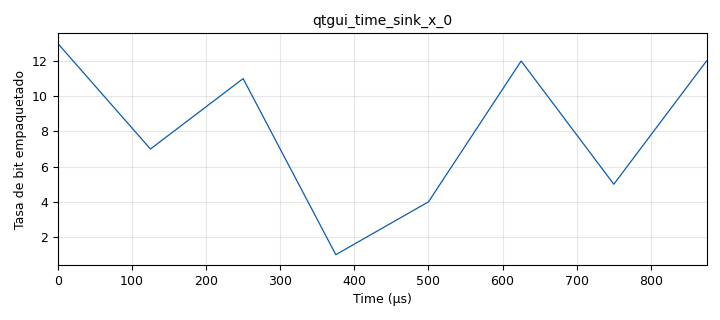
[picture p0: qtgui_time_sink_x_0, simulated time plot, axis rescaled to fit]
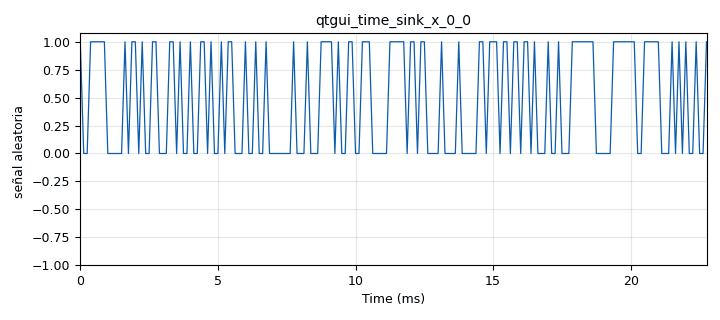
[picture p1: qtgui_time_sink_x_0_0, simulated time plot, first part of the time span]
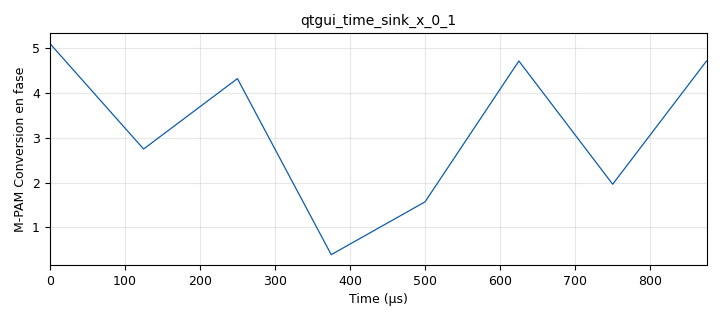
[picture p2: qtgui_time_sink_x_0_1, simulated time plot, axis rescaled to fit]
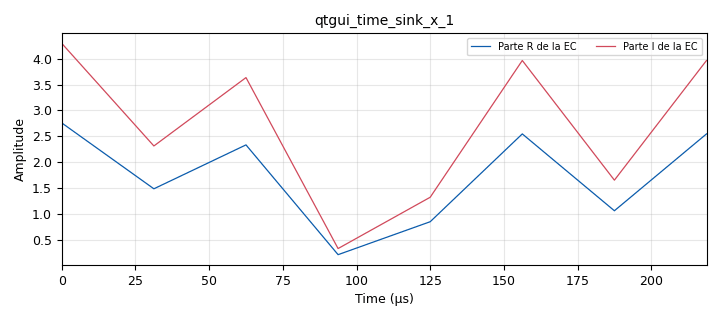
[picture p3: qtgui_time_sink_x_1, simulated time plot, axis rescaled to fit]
options:
  parameters:
    author: MANUEL_VALENTINA
    generate_options: qt_gui
    id: MPSK
    output_language: python
    title: MPSK
  states: {}

blocks:
- name: M
  id: variable
  parameters:
    value: '16'
  states: {}
- name: Nbps
  id: variable
  parameters:
    value: int(math.log(M,2))
  states: {}
- name: Rb
  id: variable
  parameters:
    value: '32000'
  states: {}
- name: Rs
  id: variable
  parameters:
    value: Rb/Nbps
  states: {}
- name: analog_const_source_x_0
  id: analog_const_source_x
  parameters:
    const: '1'
    type: float
  states: {state: disabled}
- name: analog_const_source_x_1
  id: analog_const_source_x
  parameters:
    const: '1'
    type: float
  states: {}
- name: analog_random_source_x_0
  id: analog_random_source_x
  parameters:
    max: '2'
    min: '0'
    num_samps: '1000000'
    repeat: 'True'
    type: byte
  states: {}
- name: blocks_char_to_float_0
  id: blocks_char_to_float
  parameters:
    scale: '1'
  states: {}
- name: blocks_char_to_float_0_0
  id: blocks_char_to_float
  parameters:
    scale: '1'
  states: {}
- name: blocks_char_to_float_0_0_0
  id: blocks_char_to_float
  parameters:
    scale: '1'
  states: {}
- name: blocks_multiply_const_vxx_0
  id: blocks_multiply_const_vxx
  parameters:
    const: 2*math.pi/M
    type: float
  states: {}
- name: blocks_repack_bits_bb_0
  id: blocks_repack_bits_bb
  parameters:
    endianness: gr.GR_LSB_FIRST
    k: '1'
    l: Nbps
  states: {}
- name: epy_block_0
  id: epy_block
  parameters:
    _source_code: "import numpy as np\nfrom gnuradio import gr\nimport math\n\nclass blk(gr.sync_block):  \n    \"\"\"This block is a RF VCO and works as following: …..\"\"\"\n\n    def __init__(self, fc=128000, samp_rate=320000):  \n        gr.sync_block.__init__(\n            self,\n            name='e_RF_VCO_ff',   \n            in_sig=[np.float32, np.float32],\n            out_sig=[np.float32]\n        )\n        self.fc = fc\n        self.samp_rate = samp_rate\n        self.n_m=0\n\n    def work(self, input_items, output_items):\n        A=input_items[0]\n        Q=input_items[1]\n        y=output_items[0]\n        N=len(A)\n        n=np.linspace(self.n_m,self.n_m+N-1,N)\n        self.n_m += N\n        y[:]=A*np.cos(2*math.pi*self.fc*n/self.samp_rate+Q)\n        return len(output_items[0])\n\n\n"
    fc: fc
    samp_rate: samp_rate
  states: {state: disabled}
- name: epy_block_0_0
  id: epy_block
  parameters:
    _source_code: |
      import numpy as np
      from gnuradio import gr
      import math

      class blk(gr.sync_block):  
          """This block is a CE VCO or baseband VCO and works as following: ….."""

          def __init__(self,):  
              gr.sync_block.__init__(
                  self,
                  name='e_CE_VCO_fc',   
                  in_sig=[np.float32, np.float32],
                  out_sig=[np.complex64]
              )
              
          def work(self, input_items, output_items):
              A=input_items[0]
              Q=input_items[1]
              y=output_items[0]
              N=len(A)
              y[:]=A*np.exp(1j*Q)
              return len(output_items[0])
  states: {}
- name: import_0_0
  id: import
  parameters:
    imports: import numpy as np
  states: {}
- name: import_1
  id: import
  parameters:
    imports: import math
  states: {}
- name: note_0
  id: note
  parameters:
    note: 'Diagramas de instrumentacion para visualizacion de la señal, en primera instancia se tiene un bloque empaquetador el cual me indica cual es el numero de bits por simbolo transmitido (Nbps) correspondiente al valor entero mas cercano del logaritmo en base 2 del valor M-ario del envìo de datos. usando un bloque chat to floar para convertit esa tasa aleatoria de valores binarios a un valor flotante y este pueda ser procesado por el bloque QT GUI TIME SINK. En segunda instancia tenemos un bloque time sink para mostrar la señal aleatoria '
  states: {}
- name: qtgui_time_sink_x_0
  id: qtgui_time_sink_x
  parameters:
    size: int(32/Nbps)
    srate: Rs
    type: float
    ylabel: Tasa de bit empaquetado
  states: {}
- name: qtgui_time_sink_x_0_0
  id: qtgui_time_sink_x
  parameters:
    size: '1024'
    srate: Rs
    type: float
    ylabel: 'señal aleatoria '
  states: {}
- name: qtgui_time_sink_x_0_1
  id: qtgui_time_sink_x
  parameters:
    size: int(32/Nbps)
    srate: Rs
    type: float
    ylabel: M-PAM Conversion en fase
  states: {}
- name: qtgui_time_sink_x_1
  id: qtgui_time_sink_x
  parameters:
    label1: Parte R de la EC
    label2: Parte I de la EC
    size: int(32/Nbps)
    srate: Rb
    style1: '2'
    type: complex
  states: {}
- name: virtual_sink_0_0_0_0
  id: virtual_sink
  parameters:
    stream_id: p4
  states: {state: disabled}
- name: virtual_sink_0_0_0_0_0
  id: virtual_sink
  parameters:
    stream_id: p4b
  states: {state: disabled}

connections:
- [analog_const_source_x_0, '0', epy_block_0, '0']
- [analog_const_source_x_1, '0', epy_block_0_0, '1']
- [analog_random_source_x_0, '0', blocks_char_to_float_0, '0']
- [analog_random_source_x_0, '0', blocks_repack_bits_bb_0, '0']
- [blocks_char_to_float_0, '0', qtgui_time_sink_x_0_0, '0']
- [blocks_char_to_float_0_0, '0', qtgui_time_sink_x_0, '0']
- [blocks_char_to_float_0_0_0, '0', blocks_multiply_const_vxx_0, '0']
- [blocks_multiply_const_vxx_0, '0', epy_block_0_0, '0']
- [blocks_multiply_const_vxx_0, '0', qtgui_time_sink_x_0_1, '0']
- [blocks_repack_bits_bb_0, '0', blocks_char_to_float_0_0, '0']
- [blocks_repack_bits_bb_0, '0', blocks_char_to_float_0_0_0, '0']
- [epy_block_0, '0', virtual_sink_0_0_0_0, '0']
- [epy_block_0_0, '0', qtgui_time_sink_x_1, '0']

metadata:
  file_format: 1
  grc_version: 3.9.8.0
